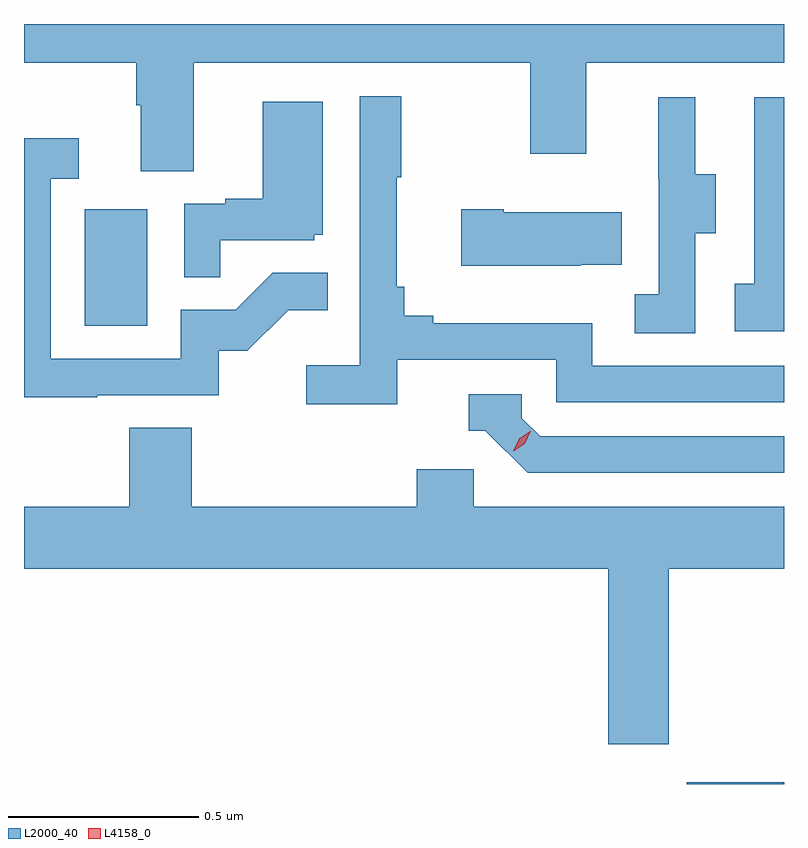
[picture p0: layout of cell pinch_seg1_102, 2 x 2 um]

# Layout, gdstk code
import gdstk
lib = gdstk.Library(unit=1e-6, precision=1e-09)
def R(c, l, rs):  # rectangles x0, y0, x1, y1
    for r in rs: c.add(gdstk.rectangle(r[:2], r[2:], *l))
def P(c, l, *ps):  # polygons
    for p in ps: c.add(gdstk.Polygon(p, *l))
L2000_40 = (2000, 40)
L4158_0 = (4158, 0)

pinch_seg1_102 = lib.new_cell('pinch_seg1_102')
R(pinch_seg1_102, L2000_40, [(1054.682,543.174,1054.938,543.178), (1053.098,544.38,1053.262,544.687)])
P(pinch_seg1_102, L2000_40, [(1053.385,545.072),(1054.27,545.072),(1054.27,544.833),(1054.417,544.833),(1054.417,545.072),(1054.938,545.072),(1054.938,545.174),(1052.938,545.174),(1052.938,545.072),(1053.233,545.072),(1053.233,544.96),(1053.245,544.96),(1053.245,544.786),(1053.385,544.786)],
  [(1053.92,544.29),(1054.338,544.29),(1054.338,544.179),(1054.938,544.179),(1054.938,544.275),(1054.434,544.275),(1054.434,544.387),(1054.015,544.387),(1054.015,544.406),(1053.938,544.406),(1053.938,544.483),(1053.919,544.483),(1053.919,544.771),(1053.931,544.771),(1053.931,544.984),(1053.822,544.984),(1053.822,544.276),(1053.681,544.276),(1053.681,544.174),(1053.92,544.174)],
  [(1054.938,544.981),(1054.86,544.981),(1054.86,544.49),(1054.809,544.49),(1054.809,544.365),(1054.938,544.365)],
  [(1054.704,544.624),(1054.759,544.624),(1054.759,544.779),(1054.705,544.779),(1054.705,544.981),(1054.607,544.981),(1054.607,544.767),(1054.608,544.767),(1054.608,544.463),(1054.545,544.463),(1054.545,544.36),(1054.704,544.36)],
  [(1053.455,544.605),(1053.702,544.605),(1053.702,544.62),(1053.724,544.62),(1053.724,544.969),(1053.566,544.969),(1053.566,544.714),(1053.467,544.714),(1053.467,544.701),(1053.36,544.701),(1053.36,544.507),(1053.455,544.507)],
  [(1053.131,544.197),(1053.45,544.197),(1053.45,544.314),(1053.526,544.314),(1053.633,544.421),(1053.737,544.421),(1053.737,544.52),(1053.593,544.52),(1053.495,544.422),(1053.351,544.422),(1053.351,544.293),(1053.009,544.293),(1053.009,544.767),(1053.082,544.767),(1053.082,544.873),(1052.938,544.873),(1052.938,544.192),(1053.131,544.192)],
  [(1054.403,544.541),(1054.511,544.541),(1054.511,544.678),(1054.201,544.678),(1054.201,544.686),(1054.089,544.686),(1054.089,544.538),(1054.403,544.538)],
  [(1054.938,544.089),(1054.296,544.089),(1054.248,544.137),(1054.248,544.2),(1054.109,544.2),(1054.109,544.104),(1054.152,544.104),(1054.263,543.993),(1054.938,543.993)],
  [(1054.635,543.74),(1054.938,543.74),(1054.938,543.904),(1054.122,543.904),(1054.122,544.002),(1053.971,544.002),(1053.971,543.904),(1053.38,543.904),(1053.38,544.112),(1053.215,544.112),(1053.215,543.904),(1052.938,543.904),(1052.938,543.74),(1054.475,543.74),(1054.475,543.279),(1054.635,543.279)])
P(pinch_seg1_102, L4158_0, [(1054.226,544.05),(1054.226,544.05),(1054.241,544.083),(1054.271,544.104),(1054.272,544.104),(1054.272,544.104),(1054.256,544.07),(1054.226,544.05)])

lib.write_gds('pinch_seg1_102.gds')
